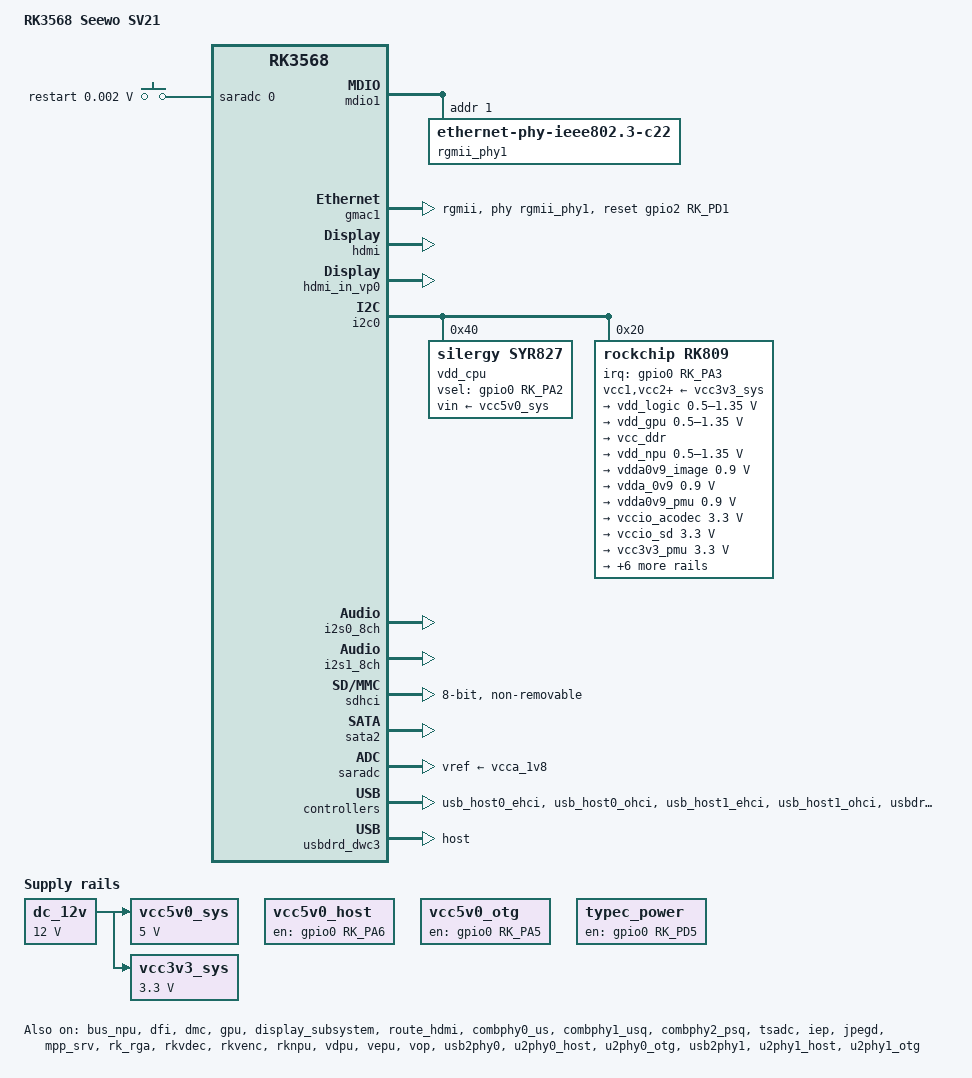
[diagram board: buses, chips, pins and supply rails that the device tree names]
/dts-v1/;
#include <dt-bindings/gpio/gpio.h>
#include <dt-bindings/leds/common.h>
#include <dt-bindings/input/rk-input.h>
#include <dt-bindings/display/rockchip_vop.h>
#include "rk3568.dtsi"

/ {
	model = "RK3568 Seewo SV21";
	compatible = "rockchip,rk3568-seewo-sv21", "rockchip,rk3568";

	chosen: chosen {
		stdout-path = &uart2;
		u-boot,spl-boot-order = &sdhci;
	};

	aliases: aliases {
		mmc0 = &sdhci;
	};

	fiq_debugger: fiq-debugger {
		compatible = "rockchip,fiq-debugger";
		rockchip,serial-id = <2>;
		rockchip,wake-irq = <0>;
		rockchip,irq-mode-enable = <1>;
		rockchip,baudrate = <1500000>;
		interrupts = <GIC_SPI 252 IRQ_TYPE_LEVEL_LOW>;
		pinctrl-names = "default";
		pinctrl-0 = <&uart2m0_xfer>;
		status = "okay";
	};

	dc_12v: dc-12v {
		compatible = "regulator-fixed";
		regulator-name = "dc_12v";
		regulator-always-on;
		regulator-boot-on;
		regulator-min-microvolt = <12000000>;
		regulator-max-microvolt = <12000000>;
	};

	vcc5v0_sys: vcc5v0-sys {
		compatible = "regulator-fixed";
		regulator-name = "vcc5v0_sys";
		regulator-always-on;
		regulator-boot-on;
		regulator-min-microvolt = <5000000>;
		regulator-max-microvolt = <5000000>;
		vin-supply = <&dc_12v>;
	};

	vcc3v3_sys: vcc3v3-sys {
		compatible = "regulator-fixed";
		regulator-name = "vcc3v3_sys";
		regulator-always-on;
		regulator-boot-on;
		regulator-min-microvolt = <3300000>;
		regulator-max-microvolt = <3300000>;
		vin-supply = <&dc_12v>;
	};

	vcc5v0_host: vcc5v0-host {
		compatible = "regulator-fixed";
		regulator-name = "vcc5v0_host";
		gpio = <&gpio0 RK_PA6 GPIO_ACTIVE_LOW>;
		regulator-always-on;
		enable-active-high;
	};

	vcc5v0_otg: vcc5v0-otg {
		compatible = "regulator-fixed";
		regulator-name = "vcc5v0_otg";
		gpio = <&gpio0 RK_PA5 GPIO_ACTIVE_LOW>;
		enable-active-high;
	};

	typec_power: typec-power {
		compatible = "regulator-fixed";
		regulator-name = "typec_power";
		gpio = <&gpio0 RK_PD5 GPIO_ACTIVE_HIGH>;
		regulator-always-on;
		enable-active-high;
	};

	adc_keys: adc-keys {
		compatible = "adc-keys";
		io-channels = <&saradc 0>;
		io-channel-names = "buttons";
		keyup-threshold-microvolt = <1800000>;
		poll-interval = <100>;

		restart-key {
			label = "restart";
			linux,code = <KEY_RESTART>;
			press-threshold-microvolt = <1750>;
		};
	};

	hdmi_sound: hdmi-sound {
		compatible = "simple-audio-card";
		simple-audio-card,format = "i2s";
		simple-audio-card,mclk-fs = <128>;
		simple-audio-card,name = "rockchip,hdmi";
		status = "okay";

		simple-audio-card,cpu {
				sound-dai = <&i2s0_8ch>;
		};

		simple-audio-card,codec {
				sound-dai = <&hdmi>;
		};
	};
};

&mdio1 {
	rgmii_phy1: ethernet-phy@1 {
		compatible = "ethernet-phy-ieee802.3-c22";
		reg = <0x1>;
	};
};

&gmac1 {
	local-mac-address = [88 0A 0A 8D 8C 81];
	phy-mode = "rgmii";
	clock_in_out = "output";

	snps,reset-gpio = <&gpio2 RK_PD1 GPIO_ACTIVE_HIGH>;
	snps,reset-active-high;
	snps,reset-delays-us = <0 1000000 2000000>;

	assigned-clocks = <&cru SCLK_GMAC1_RX_TX>, <&cru SCLK_GMAC1>;
	assigned-clock-parents = <&cru SCLK_GMAC1_RGMII_SPEED>;
	assigned-clock-rates = <0>, <125000000>;

	pinctrl-names = "default";
	pinctrl-0 = <&gmac1m1_miim
			&gmac1m1_tx_bus2
			&gmac1m1_rx_bus2
			&gmac1m1_rgmii_clk
			&gmac1m1_rgmii_bus>;	

	tx_delay = <0x2a>;
	rx_delay = <0x2a>;

	fixed-link = <1 1 1000 1 1>;
	phy-handle = <&rgmii_phy1>;
	status = "okay";
};

&bus_npu {
	bus-supply = <&vdd_logic>;
	pvtm-supply = <&vdd_cpu>;
	status = "okay";
};

&cpu0 {
	cpu-supply = <&vdd_cpu>;
};

&cpu1 {
	cpu-supply = <&vdd_cpu>;
};

&cpu2 {
	cpu-supply = <&vdd_cpu>;
};

&cpu3 {
	cpu-supply = <&vdd_cpu>;
};

&dfi {
	status = "okay";
};

&dmc {
	center-supply = <&vdd_logic>;
	status = "okay";
};

&gpu {
	clock-names = "gpu", "bus";
	interrupt-names = "gpu", "mmu", "job";
	mali-supply = <&vdd_gpu>;
	status = "okay";
};

&display_subsystem {
	status = "okay";
};

&hdmi {
	status = "okay";
};

&hdmi_in_vp0 {
	status = "okay";
};

&route_hdmi {
	connect = <&vp0_out_hdmi>;
	status = "okay";
};

&i2c0 {
	status = "okay";

	vdd_cpu: syr837@40 {
		compatible = "silergy,syr827";
		reg = <0x40>;
		vin-supply = <&vcc5v0_sys>;
		regulator-compatible = "fan53555-reg";
		regulator-name = "vdd_cpu";
		vsel-gpios = <&gpio0 RK_PA2 GPIO_ACTIVE_HIGH>;
		regulator-min-microvolt = <712500>;
		regulator-max-microvolt = <1500000>;
		regulator-init-microvolt = <900000>;
		regulator-ramp-delay = <1000>;
		fcs,suspend-voltage-selector = <1>;
		regulator-initial-state = <3>;
		regulator-always-on;

		regulator-state-mem {
			regulator-off-in-suspend;
		};
	};

	rk809: pmic@20 {
		compatible = "rockchip,rk809";
		reg = <0x20>;
		interrupt-parent = <&gpio0>;
		interrupts = <RK_PA3 IRQ_TYPE_LEVEL_LOW>;

		rockchip,system-power-controller;
		wakeup-source;
		#clock-cells = <1>;
		clock-output-names = "rk808-clkout1", "rk808-clkout2";

		pmic-reset-func = <0>;
		not-save-power-en = <1>;

		vcc1-supply = <&vcc3v3_sys>;
		vcc2-supply = <&vcc3v3_sys>;
		vcc3-supply = <&vcc3v3_sys>;
		vcc4-supply = <&vcc3v3_sys>;
		vcc5-supply = <&vcc3v3_sys>;
		vcc6-supply = <&vcc3v3_sys>;
		vcc7-supply = <&vcc3v3_sys>;
		vcc8-supply = <&vcc3v3_sys>;
		vcc9-supply = <&vcc3v3_sys>;

		pwrkey {
			status = "okay";
		};

		regulators {

			vdd_logic: DCDC_REG1 {
				regulator-always-on;
				regulator-boot-on;
				regulator-min-microvolt = <500000>;
				regulator-max-microvolt = <1350000>;
				regulator-init-microvolt = <925000>;
				regulator-ramp-delay = <6001>;
				regulator-initial-mode = <2>;
				regulator-name = "vdd_logic";

				regulator-state-mem {
					regulator-off-in-suspend;
				};
			};

			vdd_gpu: DCDC_REG2 {
				regulator-always-on;
				regulator-boot-on;
				regulator-min-microvolt = <500000>;
				regulator-max-microvolt = <1350000>;
				regulator-init-microvolt = <900000>;
				regulator-ramp-delay = <6001>;
				regulator-initial-mode = <2>;
				regulator-name = "vdd_gpu";

				regulator-state-mem {
					regulator-off-in-suspend;
				};
			};

			vcc_ddr: DCDC_REG3 {
				regulator-always-on;
				regulator-boot-on;
				regulator-initial-mode = <2>;
				regulator-name = "vcc_ddr";

				regulator-state-mem {
					regulator-on-in-suspend;
				};
			};

			vdd_npu: DCDC_REG4 {
				regulator-always-on;
				regulator-boot-on;
				regulator-min-microvolt = <500000>;
				regulator-max-microvolt = <1350000>;
				regulator-init-microvolt = <900000>;
				regulator-ramp-delay = <6001>;
				regulator-initial-mode = <2>;
				regulator-name = "vdd_npu";

				regulator-state-mem {
					regulator-off-in-suspend;
				};
			};

			vdda0v9_image: LDO_REG1 {
				regulator-boot-on;
				regulator-always-on;
				regulator-min-microvolt = <900000>;
				regulator-max-microvolt = <900000>;
				regulator-name = "vdda0v9_image";

				regulator-state-mem {
					regulator-off-in-suspend;
				};
			};

			vdda_0v9: LDO_REG2 {
				regulator-always-on;
				regulator-boot-on;
				regulator-min-microvolt = <900000>;
				regulator-max-microvolt = <900000>;
				regulator-name = "vdda_0v9";

				regulator-state-mem {
					regulator-off-in-suspend;
				};
			};

			vdda0v9_pmu: LDO_REG3 {
				regulator-always-on;
				regulator-boot-on;
				regulator-min-microvolt = <900000>;
				regulator-max-microvolt = <900000>;
				regulator-name = "vdda0v9_pmu";

				regulator-state-mem {
					regulator-on-in-suspend;
					regulator-suspend-microvolt = <900000>;
				};
			};

			vccio_acodec: LDO_REG4 {
				regulator-always-on;
				regulator-boot-on;
				regulator-min-microvolt = <3300000>;
				regulator-max-microvolt = <3300000>;
				regulator-name = "vccio_acodec";

				regulator-state-mem {
					regulator-off-in-suspend;
				};
			};

			vccio_sd: LDO_REG5 {
				regulator-always-on;
				regulator-boot-on;
				regulator-min-microvolt = <3300000>;
				regulator-max-microvolt = <3300000>;
				regulator-name = "vccio_sd";

				regulator-state-mem {
					regulator-off-in-suspend;
				};
			};

			vcc3v3_pmu: LDO_REG6 {
				regulator-always-on;
				regulator-boot-on;
				regulator-min-microvolt = <3300000>;
				regulator-max-microvolt = <3300000>;
				regulator-name = "vcc3v3_pmu";

				regulator-state-mem {
					regulator-on-in-suspend;
					regulator-suspend-microvolt = <3300000>;
				};
			};

			vcca_1v8: LDO_REG7 {
				regulator-always-on;
				regulator-boot-on;
				regulator-min-microvolt = <1800000>;
				regulator-max-microvolt = <1800000>;
				regulator-name = "vcca_1v8";

				regulator-state-mem {
					regulator-off-in-suspend;
				};
			};

			vcca1v8_pmu: LDO_REG8 {
				regulator-always-on;
				regulator-boot-on;
				regulator-min-microvolt = <1800000>;
				regulator-max-microvolt = <1800000>;
				regulator-name = "vcca1v8_pmu";

				regulator-state-mem {
					regulator-on-in-suspend;
					regulator-suspend-microvolt = <1800000>;
				};
			};

			vcca1v8_image: LDO_REG9 {
				regulator-always-on;
				regulator-boot-on;
				regulator-min-microvolt = <1800000>;
				regulator-max-microvolt = <1800000>;
				regulator-name = "vcca1v8_image";

				regulator-state-mem {
					regulator-off-in-suspend;
				};
			};

			vcc_1v8: DCDC_REG5 {
				regulator-always-on;
				regulator-boot-on;
				regulator-min-microvolt = <1800000>;
				regulator-max-microvolt = <1800000>;
				regulator-name = "vcc_1v8";

				regulator-state-mem {
					regulator-off-in-suspend;
				};
			};

			vcc_3v3: SWITCH_REG1 {
				regulator-always-on;
				regulator-boot-on;
				regulator-name = "vcc_3v3";

				regulator-state-mem {
					regulator-off-in-suspend;
				};
			};

			vcc3v3_sd: SWITCH_REG2 {
				regulator-always-on;
				regulator-boot-on;
				regulator-name = "vcc3v3_sd";

				regulator-state-mem {
					regulator-off-in-suspend;
				};
			};

			rk809_codec: codec {
				#sound-dai-cells = <0>;
				compatible = "rockchip,rk809-codec";
				clocks = <&cru I2S1_MCLKOUT>;
				clock-names = "mclk";
				assigned-clocks = <&cru I2S1_MCLKOUT>, <&cru I2S1_MCLK_TX_IOE>;
				assigned-clock-rates = <12288000>;
				assigned-clock-parents = <&cru I2S1_MCLKOUT_TX>, <&cru I2S1_MCLKOUT_TX>;
				pinctrl-names = "default";
				pinctrl-0 = <&i2s1m0_mclk>;
				hp-volume = <20>;
				spk-volume = <7>;
				mic-in-differential;
				status = "okay";
			};			
		};
	};
};

&i2s0_8ch {
	status = "okay";
};

&i2s1_8ch {
	rockchip,clk-trcm = <1>;
	pinctrl-names = "default";
	pinctrl-0 = <&i2s1m0_lrcktx
		     &i2s1m0_lrckrx
		     &i2s1m0_sdi0
		     &i2s1m0_sdo0>;
	status = "okay";
};

&pmu_io_domains {
	pmuio1-supply = <&vcc3v3_pmu>;
	pmuio2-supply = <&vcc3v3_pmu>;
	vccio1-supply = <&vccio_acodec>;
	vccio3-supply = <&vccio_sd>;
	vccio4-supply = <&vcc_3v3>;
	vccio5-supply = <&vcc_3v3>;
	vccio6-supply = <&vcc_3v3>;
	vccio7-supply = <&vcc_3v3>;
	status = "okay";
};

&sdhci {
	bus-width = <8>;
	supports-emmc;
	non-removable;
	max-frequency = <200000000>;
	status = "okay";
};

&combphy0_us {
	status = "okay";
};

&combphy1_usq {
	status = "okay";
};

&combphy2_psq {
	status = "okay";
};

&sata2 {
	status = "okay";
};

&tsadc {
	rockchip,hw-tshut-mode = <0>;
	rockchip,hw-tshut-polarity = <0>;
	status = "okay";
};

&saradc {
	vref-supply = <&vcca_1v8>;
	status = "okay";
};

&uart2 {
	status = "disabled";
};

&iep {
	status = "okay";
};

&iep_mmu {
	status = "okay";
};

&jpegd {
	status = "okay";
};

&jpegd_mmu {
	status = "okay";
};

&mpp_srv {
	status = "okay";
};

&rk_rga {
	status = "okay";
};

&rkvdec {
	status = "okay";
};

&rkvdec_mmu {
	status = "okay";
};

&rkvenc {
	venc-supply = <&vdd_logic>;
	status = "okay";
};

&rkvenc_mmu {
	status = "okay";
};

&rknpu {
	rknpu-supply = <&vdd_npu>;
	status = "okay";
};

&rknpu_mmu {
	status = "okay";
};

&vdpu {
	status = "okay";
};

&vdpu_mmu {
	status = "okay";
};

&vepu {
	status = "okay";
};

&vepu_mmu {
	status = "okay";
};

&vop {
	assigned-clocks = <&cru DCLK_VOP0>, <&cru DCLK_VOP1>;
	assigned-clock-parents = <&pmucru PLL_HPLL>, <&cru PLL_VPLL>;
	status = "okay";
};

&vop_mmu {
	status = "okay";
};

&vp0 {
	rockchip,plane-mask = <(1 << ROCKCHIP_VOP2_CLUSTER0 | 1 << ROCKCHIP_VOP2_ESMART0)>;
	rockchip,primary-plane = <ROCKCHIP_VOP2_ESMART0>;
};

&usb2phy0 {
	status = "okay";
};

&u2phy0_host {
	phy-supply = <&vcc5v0_host>;
	status = "okay";
};

&u2phy0_otg {
	vbus-supply = <&vcc5v0_otg>;
	status = "okay";
};

&usb2phy1 {
	status = "okay";
};

&u2phy1_host {
	phy-supply = <&vcc5v0_host>;
	status = "okay";
};

&u2phy1_otg {
	phy-supply = <&vcc5v0_host>;
	status = "okay";
};

&usb_host0_ehci {
	status = "okay";
};

&usb_host0_ohci {
	status = "okay";
};

&usb_host1_ehci {
	status = "okay";
};

&usb_host1_ohci {
	status = "okay";
};

&usbdrd30 {
	status = "okay";
};

&usbdrd_dwc3 {
	dr_mode = "host";
	extcon = <&usb2phy0>;
	status = "okay";
};

&usbhost30 {
	status = "okay";
};

&usbhost_dwc3 {
	status = "okay";
};
